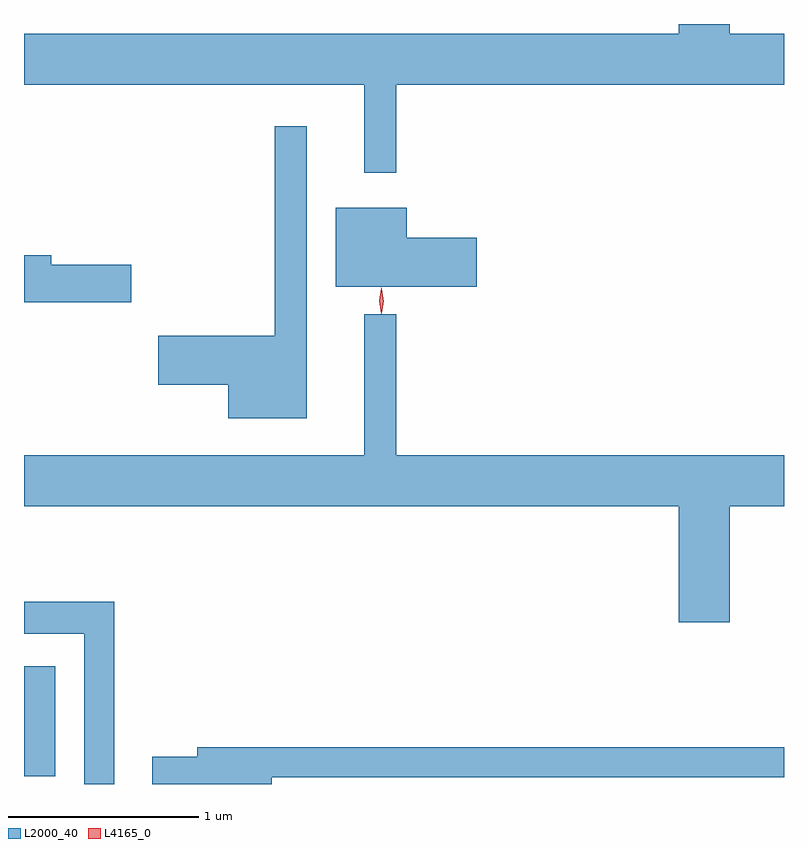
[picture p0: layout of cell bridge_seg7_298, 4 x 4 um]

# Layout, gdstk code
import gdstk
lib = gdstk.Library(unit=1e-6, precision=1e-09)
def R(c, l, rs):  # rectangles x0, y0, x1, y1
    for r in rs: c.add(gdstk.rectangle(r[:2], r[2:], *l))
def P(c, l, *ps):  # polygons
    for p in ps: c.add(gdstk.Polygon(p, *l))
L2000_40 = (2000, 40)
L4165_0 = (4165, 0)

bridge_seg7_298 = lib.new_cell('bridge_seg7_298')
R(bridge_seg7_298, L2000_40, [(1410.43,1788.376,1410.594,1788.954)])
P(bridge_seg7_298, L2000_40, [(1412.389,1792.016),(1414.43,1792.016),(1414.43,1792.284),(1414.144,1792.284),(1414.144,1792.335),(1413.876,1792.335),(1413.876,1792.284),(1410.43,1792.284),(1410.43,1792.016),(1412.221,1792.016),(1412.221,1791.553),(1412.389,1791.553)],
  [(1411.919,1791.798),(1411.751,1791.798),(1411.751,1790.694),(1411.136,1790.694),(1411.136,1790.436),(1411.506,1790.436),(1411.506,1790.261),(1411.919,1790.261)],
  [(1412.814,1791.209),(1412.444,1791.209),(1412.444,1791.369),(1412.071,1791.369),(1412.071,1790.951),(1412.814,1790.951)],
  [(1410.994,1791.069),(1410.574,1791.069),(1410.574,1791.119),(1410.43,1791.119),(1410.43,1790.871),(1410.994,1790.871)],
  [(1414.144,1789.796),(1414.43,1789.796),(1414.43,1790.064),(1412.389,1790.064),(1412.389,1790.808),(1412.221,1790.808),(1412.221,1790.064),(1410.43,1790.064),(1410.43,1789.796),(1413.876,1789.796),(1413.876,1789.186),(1414.144,1789.186)],
  [(1410.904,1789.294),(1410.43,1789.294),(1410.43,1789.126),(1410.746,1789.126),(1410.746,1788.335),(1410.904,1788.335)],
  [(1411.734,1788.371),(1414.43,1788.371),(1414.43,1788.529),(1411.341,1788.529),(1411.341,1788.479),(1411.106,1788.479),(1411.106,1788.335),(1411.734,1788.335)])
P(bridge_seg7_298, L4165_0, [(1412.311,1790.813),(1412.303,1790.876),(1412.313,1790.939),(1412.314,1790.94),(1412.314,1790.939),(1412.323,1790.876),(1412.312,1790.813),(1412.312,1790.813)],
  [(1412.309,1790.81),(1412.3,1790.878),(1412.311,1790.945),(1412.311,1790.946),(1412.312,1790.945),(1412.32,1790.878),(1412.31,1790.81),(1412.31,1790.81)])

lib.write_gds('bridge_seg7_298.gds')
